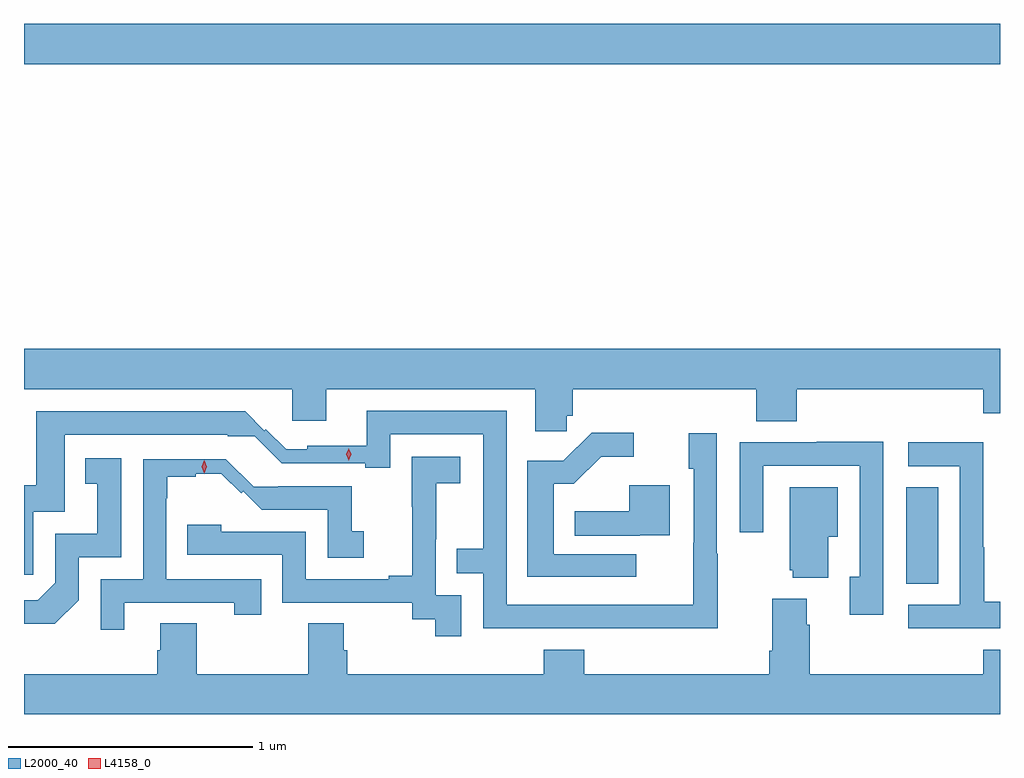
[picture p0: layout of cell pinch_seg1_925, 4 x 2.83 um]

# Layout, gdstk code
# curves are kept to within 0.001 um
import gdstk
lib = gdstk.Library(unit=1e-6, precision=1e-09)
def R(c, l, rs):  # rectangles x0, y0, x1, y1
    for r in rs: c.add(gdstk.rectangle(r[:2], r[2:], *l))
def P(c, l, *ps):  # polygons
    for p in ps: c.add(gdstk.Polygon(p, *l))
L2000_40 = (2000, 40)
L4158_0 = (4158, 0)

pinch_seg1_925 = lib.new_cell('pinch_seg1_925')
R(pinch_seg1_925, L2000_40, [(134.726,536.281,134.857,536.678), (131.11,538.412,135.11,538.576)])
P(pinch_seg1_925, L2000_40, [(133.335,536.97),(133.358,536.97),(133.358,537.08),(134.111,537.08),(134.111,536.947),(134.276,536.947),(134.276,537.08),(135.041,537.08),(135.041,536.981),(135.11,536.981),(135.11,537.244),(131.11,537.244),(131.11,537.08),(132.21,537.08),(132.21,536.949),(132.349,536.949),(132.349,537.08),(133.205,537.08),(133.205,536.906),(133.335,536.906)],
  [(133.953,536.405),(133.95,536.405),(133.95,536.899),(133.835,536.899),(133.835,536.754),(133.854,536.754),(133.854,536.45),(133.852,536.45),(133.852,536.196),(133.089,536.196),(133.089,536.991),(132.515,536.991),(132.515,536.848),(132.271,536.848),(132.271,536.833),(132.184,536.833),(132.101,536.915),(132.095,536.909),(132.016,536.988),(131.161,536.988),(131.161,536.686),(131.11,536.686),(131.11,536.319),(131.148,536.319),(131.148,536.577),(131.277,536.577),(131.277,536.892),(131.946,536.892),(131.946,536.887),(132.055,536.887),(132.166,536.775),(132.509,536.775),(132.509,536.758),(132.612,536.758),(132.612,536.895),(132.993,536.895),(132.993,536.426),(132.883,536.426),(132.883,536.325),(132.993,536.325),(132.993,536.1),(133.953,536.099)],
  [(133.619,536.403),(133.282,536.403),(133.282,536.691),(133.363,536.691),(133.475,536.803),(133.608,536.803),(133.608,536.901),(133.436,536.901),(133.321,536.786),(133.173,536.786),(133.173,536.31),(133.619,536.31)],
  [(134.631,536.864),(134.359,536.864),(134.359,536.862),(134.043,536.862),(134.043,536.493),(134.139,536.493),(134.139,536.766),(134.535,536.766),(134.535,536.31),(134.495,536.31),(134.495,536.154),(134.631,536.154)],
  [(135.11,536.209),(135.045,536.209),(135.045,536.432),(135.042,536.432),(135.042,536.862),(134.733,536.862),(134.733,536.763),(134.946,536.763),(134.946,536.196),(134.733,536.196),(134.733,536.1),(135.11,536.1)],
  [(132.903,536.235),(132.798,536.235),(132.798,536.465),(132.8,536.465),(132.8,536.693),(132.898,536.693),(132.898,536.803),(132.7,536.803),(132.7,536.597),(132.701,536.597),(132.701,536.314),(132.605,536.314),(132.605,536.301),(132.264,536.301),(132.264,536.496),(131.919,536.496),(131.919,536.524),(131.779,536.524),(131.779,536.4),(132.168,536.4),(132.168,536.205),(132.702,536.205),(132.702,536.137),(132.795,536.137),(132.795,536.067),(132.903,536.067)],
  [(131.334,536.214),(131.334,536.391),(131.508,536.391),(131.508,536.797),(131.362,536.797),(131.362,536.691),(131.411,536.691),(131.411,536.487),(131.238,536.487),(131.238,536.286),(131.166,536.214),(131.11,536.214),(131.11,536.117),(131.236,536.117)],
  [(131.521,536.205),(131.972,536.205),(131.972,536.154),(132.083,536.154),(132.083,536.301),(131.694,536.301),(131.694,536.633),(131.697,536.633),(131.697,536.72),(131.814,536.72),(131.814,536.733),(131.919,536.733),(132,536.652),(132.009,536.661),(132.084,536.586),(132.354,536.586),(132.354,536.388),(132.502,536.388),(132.502,536.497),(132.453,536.497),(132.453,536.682),(132.151,536.682),(132.151,536.679),(132.051,536.679),(131.937,536.793),(131.598,536.793),(131.598,536.301),(131.424,536.301),(131.424,536.094),(131.521,536.094)],
  [(133.634,536.481),(133.756,536.481),(133.756,536.686),(133.591,536.686),(133.591,536.578),(133.367,536.578),(133.367,536.479),(133.634,536.479)],
  [(134.407,536.474),(134.446,536.474),(134.446,536.677),(134.249,536.677),(134.249,536.337),(134.261,536.337),(134.261,536.306),(134.407,536.306)],
  [(135.11,536.011),(135.041,536.011),(135.041,535.912),(134.33,535.912),(134.33,536.114),(134.317,536.114),(134.317,536.221),(134.177,536.221),(134.177,536.008),(134.165,536.008),(134.165,535.912),(133.406,535.912),(133.406,536.011),(133.241,536.011),(133.241,535.912),(132.434,535.912),(132.434,536.01),(132.421,536.01),(132.421,536.12),(132.274,536.12),(132.274,535.912),(131.817,535.912),(131.817,536.12),(131.669,536.12),(131.669,536.01),(131.657,536.01),(131.657,535.912),(131.11,535.912),(131.11,535.748),(135.11,535.748)])
P(pinch_seg1_925, L4158_0, [(132.44,536.787),(132.44,536.788),(132.431,536.812),(132.441,536.836),(132.441,536.837),(132.441,536.836),(132.451,536.812),(132.44,536.788)],
  [(131.848,536.734),(131.848,536.734),(131.838,536.761),(131.848,536.789),(131.848,536.789),(131.849,536.789),(131.858,536.761),(131.849,536.734)])

lib.write_gds('pinch_seg1_925.gds')
